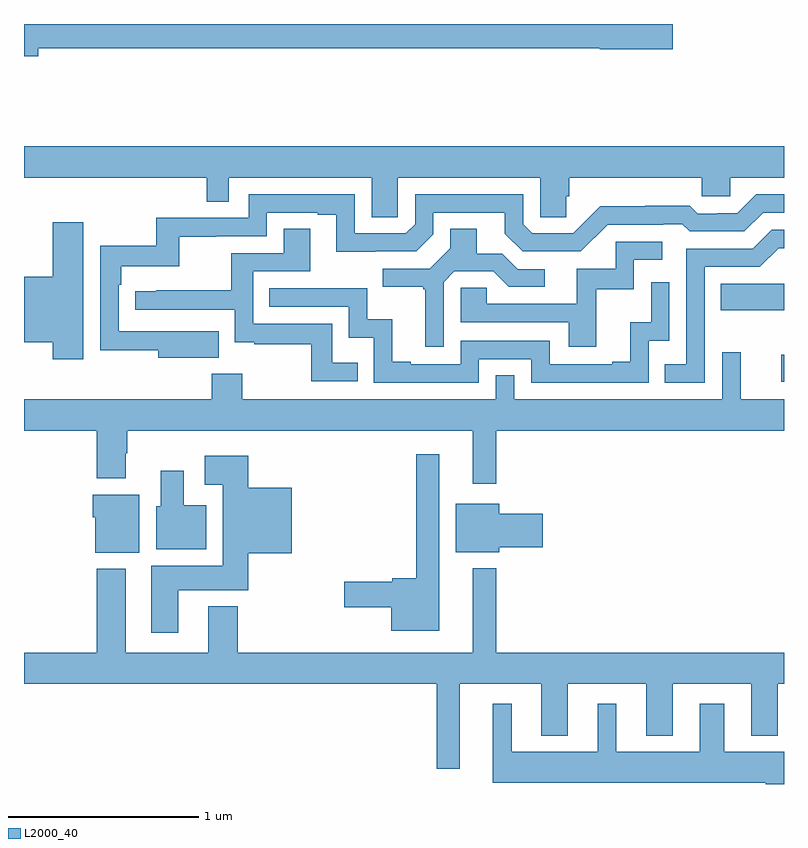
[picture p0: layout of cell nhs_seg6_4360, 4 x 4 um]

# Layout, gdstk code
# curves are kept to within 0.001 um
import gdstk
lib = gdstk.Library(unit=1e-6, precision=1e-09)
def R(c, l, rs):  # rectangles x0, y0, x1, y1
    for r in rs: c.add(gdstk.rectangle(r[:2], r[2:], *l))
def P(c, l, *ps):  # polygons
    for p in ps: c.add(gdstk.Polygon(p, *l))
L2000_40 = (2000, 40)

nhs_seg6_4360 = lib.new_cell('nhs_seg6_4360')
R(nhs_seg6_4360, L2000_40, [(372.986,923.616,373,923.76), (372.667,923.993,373,924.133)])
P(nhs_seg6_4360, L2000_40, [(369.076,925.372),(372.03,925.372),(372.03,925.367),(372.415,925.367),(372.415,925.5),(369,925.5),(369,925.33),(369.076,925.33)],
  [(370.968,924.692),(371.718,924.692),(371.718,924.484),(371.855,924.484),(371.855,924.594),(371.87,924.594),(371.87,924.692),(372.567,924.692),(372.567,924.594),(372.717,924.594),(372.717,924.692),(373,924.692),(373,924.856),(369,924.856),(369,924.692),(369.961,924.692),(369.961,924.565),(370.077,924.565),(370.077,924.692),(370.829,924.692),(370.829,924.484),(370.968,924.484)],
  [(370.025,923.884),(369.498,923.883),(369.498,924.128),(369.512,924.128),(369.512,924.224),(369.817,924.224),(369.817,924.379),(370.013,924.379),(370.013,924.384),(370.278,924.384),(370.278,924.507),(370.547,924.507),(370.547,924.495),(370.643,924.495),(370.643,924.302),(371.064,924.303),(371.154,924.393),(371.154,924.507),(371.531,924.507),(371.531,924.397),(371.625,924.303),(371.931,924.303),(372.072,924.444),(372.365,924.444),(372.365,924.447),(372.464,924.447),(372.503,924.408),(372.792,924.408),(372.891,924.507),(373,924.507),(373,924.603),(372.854,924.603),(372.755,924.504),(372.648,924.504),(372.648,924.501),(372.545,924.501),(372.503,924.544),(372.27,924.544),(372.27,924.541),(372.034,924.541),(371.892,924.399),(371.676,924.399),(371.628,924.447),(371.628,924.603),(371.058,924.603),(371.058,924.447),(371.01,924.399),(370.74,924.399),(370.74,924.603),(370.182,924.603),(370.182,924.48),(369.696,924.48),(369.696,924.334),(369.402,924.334),(369.402,923.782),(369.707,923.782),(369.707,923.744),(370.025,923.744)],
  [(369.313,924.457),(369.152,924.457),(369.152,924.169),(369,924.169),(369,923.825),(369.152,923.825),(369.152,923.736),(369.313,923.736)],
  [(371.208,924.141),(371.265,924.198),(371.471,924.198),(371.552,924.117),(371.74,924.117),(371.74,924.21),(371.598,924.21),(371.518,924.29),(371.383,924.29),(371.383,924.422),(371.243,924.422),(371.243,924.32),(371.136,924.213),(370.887,924.213),(370.887,924.116),(371.1,924.116),(371.1,924.105),(371.111,924.105),(371.111,923.802),(371.208,923.802)],
  [(370.757,923.716),(370.623,923.716),(370.623,923.922),(370.206,923.922),(370.206,924.198),(370.507,924.198),(370.507,924.422),(370.367,924.422),(370.367,924.294),(370.09,924.294),(370.09,924.098),(369.697,924.098),(369.697,924.093),(369.585,924.093),(369.585,923.997),(370.11,923.997),(370.11,923.825),(370.213,923.825),(370.213,923.814),(370.512,923.814),(370.512,923.619),(370.757,923.619)],
  [(372.582,924.222),(372.873,924.222),(372.972,924.321),(373,924.321),(373,924.417),(372.935,924.417),(372.836,924.318),(372.486,924.318),(372.486,923.709),(372.373,923.709),(372.373,923.613),(372.582,923.613)],
  [(372.011,924.105),(372.21,924.105),(372.21,924.258),(372.358,924.258),(372.358,924.354),(372.114,924.354),(372.114,924.213),(371.909,924.213),(371.909,924.027),(371.435,924.027),(371.435,924.111),(371.298,924.111),(371.298,923.931),(371.867,923.931),(371.867,923.802),(372.011,923.802)],
  [(371.394,923.736),(371.67,923.736),(371.67,923.613),(372.288,923.613),(372.288,923.832),(372.396,923.832),(372.396,924.142),(372.3,924.142),(372.3,923.93),(372.191,923.93),(372.191,923.722),(372.095,923.722),(372.095,923.709),(371.766,923.709),(371.766,923.832),(371.298,923.832),(371.298,923.709),(371.035,923.709),(371.035,923.722),(370.939,923.722),(370.939,923.947),(370.806,923.947),(370.806,924.108),(370.291,924.108),(370.291,924.012),(370.71,924.012),(370.71,923.849),(370.842,923.849),(370.842,923.613),(371.394,923.613)],
  [(371.485,923.36),(373,923.36),(373,923.524),(372.773,923.524),(372.773,923.773),(372.675,923.773),(372.675,923.524),(371.58,923.524),(371.58,923.651),(371.484,923.651),(371.484,923.524),(370.149,923.524),(370.149,923.659),(369.989,923.659),(369.989,923.524),(369,923.524),(369,923.36),(369.383,923.36),(369.383,923.108),(369.535,923.108),(369.535,923.24),(369.543,923.24),(369.543,923.36),(371.363,923.36),(371.363,923.079),(371.485,923.079)],
  [(371.185,923.236),(371.064,923.236),(371.064,922.583),(370.938,922.583),(370.938,922.565),(370.686,922.565),(370.686,922.43),(370.934,922.43),(370.934,922.307),(371.185,922.307)],
  [(369.811,922.52),(370.181,922.52),(370.181,922.715),(370.408,922.715),(370.408,923.059),(370.181,923.059),(370.181,923.227),(369.951,923.227),(369.951,923.075),(370.046,923.075),(370.046,922.648),(369.671,922.648),(369.671,922.296),(369.811,922.296)],
  [(369.958,922.966),(369.841,922.966),(369.841,923.149),(369.719,923.149),(369.719,922.962),(369.695,922.962),(369.695,922.736),(369.958,922.736)],
  [(369.607,923.023),(369.362,923.023),(369.362,922.905),(369.374,922.905),(369.374,922.718),(369.607,922.718)],
  [(371.5,922.745),(371.731,922.745),(371.731,922.923),(371.5,922.923),(371.5,922.975),(371.273,922.975),(371.273,922.721),(371.5,922.721)],
  [(371.485,922.636),(371.363,922.636),(371.363,922.192),(370.124,922.192),(370.124,922.435),(369.971,922.435),(369.971,922.192),(369.535,922.192),(369.535,922.633),(369.383,922.633),(369.383,922.192),(369,922.192),(369,922.028),(371.172,922.028),(371.172,921.579),(371.293,921.579),(371.293,922.028),(371.723,922.028),(371.723,921.755),(371.863,921.755),(371.863,922.028),(372.275,922.028),(372.275,921.755),(372.415,921.755),(372.415,922.028),(372.827,922.028),(372.827,921.755),(372.967,921.755),(372.967,922.028),(373,922.028),(373,922.192),(371.485,922.192)],
  [(373,921.67),(372.685,921.67),(372.685,921.922),(372.557,921.922),(372.557,921.67),(372.118,921.67),(372.118,921.922),(372.02,921.922),(372.02,921.67),(371.566,921.67),(371.566,921.922),(371.468,921.922),(371.468,921.506),(372.905,921.506),(372.905,921.5),(373,921.5)])

lib.write_gds('nhs_seg6_4360.gds')
